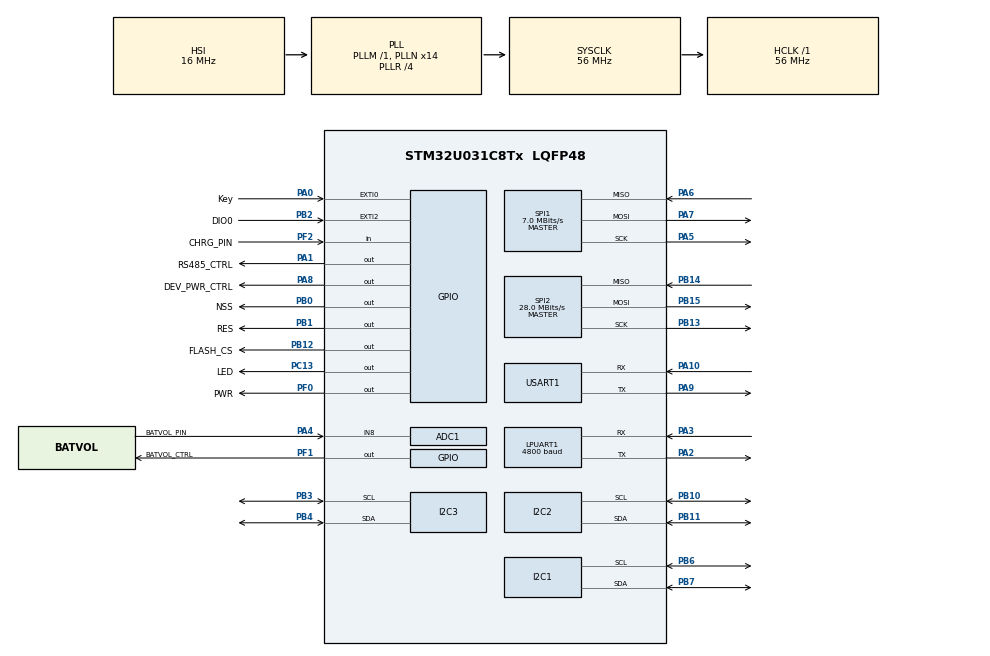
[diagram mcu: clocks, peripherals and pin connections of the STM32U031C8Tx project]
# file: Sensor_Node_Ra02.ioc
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ADC1.Channel-7\#ChannelRegularConversion=ADC_CHANNEL_8
ADC1.ClockPrescaler=ADC_CLOCK_SYNC_PCLK_DIV4
ADC1.NbrOfConversionFlag=1
ADC1.Rank-7\#ChannelRegularConversion=1
ADC1.RankArg-7\#ChannelRegularConversion=ADC_REGULAR_RANK_1
ADC1.SamplingTime-7\#ChannelRegularConversion=ADC_SAMPLINGTIME_COMMON_1
ADC1.SamplingTimeCommon1=ADC_SAMPLETIME_160CYCLES_5
ADC1.SamplingTimeCommon2=ADC_SAMPLETIME_160CYCLES_5
ADC1.SelectedChannel=ADC_CHANNEL_8
ADC1.master=1
CRC.CRCLength=CRC_POLYLENGTH_16B
CRC.DefaultInitValueUse=DEFAULT_INIT_VALUE_DISABLE
CRC.DefaultPolynomialUse=DEFAULT_POLYNOMIAL_DISABLE
CRC.GeneratingPolynomial=X15+X2+X0
CRC.InitValue=0xFFFF
CRC.InputDataInversionMode=CRC_INPUTDATA_INVERSION_BIT_BYBYTE
CRC.OutputDataInversionMode=CRC_OUTPUTDATA_INVERSION_BIT
Dma.Request0=USART1_RX
Dma.Request1=USART1_TX
Dma.USART1_RX.0.Direction=DMA_PERIPH_TO_MEMORY
Dma.USART1_RX.0.EventEnable=DISABLE
Dma.USART1_RX.0.Instance=DMA1_Channel1
Dma.USART1_RX.0.MemDataAlignment=DMA_MDATAALIGN_BYTE
Dma.USART1_RX.0.MemInc=DMA_MINC_ENABLE
Dma.USART1_RX.0.Mode=DMA_CIRCULAR
Dma.USART1_RX.0.PeriphDataAlignment=DMA_PDATAALIGN_BYTE
Dma.USART1_RX.0.PeriphInc=DMA_PINC_DISABLE
Dma.USART1_RX.0.Polarity=HAL_DMAMUX_REQ_GEN_RISING
Dma.USART1_RX.0.Priority=DMA_PRIORITY_LOW
Dma.USART1_RX.0.RequestNumber=1
Dma.USART1_RX.0.SignalID=NONE
Dma.USART1_RX.0.SyncEnable=DISABLE
Dma.USART1_RX.0.SyncPolarity=HAL_DMAMUX_SYNC_NO_EVENT
Dma.USART1_RX.0.SyncRequestNumber=1
Dma.USART1_RX.0.SyncSignalID=NONE
Dma.USART1_TX.1.Direction=DMA_MEMORY_TO_PERIPH
Dma.USART1_TX.1.EventEnable=DISABLE
Dma.USART1_TX.1.Instance=DMA1_Channel2
Dma.USART1_TX.1.MemDataAlignment=DMA_MDATAALIGN_BYTE
Dma.USART1_TX.1.MemInc=DMA_MINC_ENABLE
Dma.USART1_TX.1.Mode=DMA_NORMAL
Dma.USART1_TX.1.PeriphDataAlignment=DMA_PDATAALIGN_BYTE
Dma.USART1_TX.1.PeriphInc=DMA_PINC_DISABLE
Dma.USART1_TX.1.Polarity=HAL_DMAMUX_REQ_GEN_RISING
Dma.USART1_TX.1.Priority=DMA_PRIORITY_LOW
Dma.USART1_TX.1.RequestNumber=1
Dma.USART1_TX.1.SignalID=NONE
Dma.USART1_TX.1.SyncEnable=DISABLE
Dma.USART1_TX.1.SyncPolarity=HAL_DMAMUX_SYNC_NO_EVENT
Dma.USART1_TX.1.SyncRequestNumber=1
Dma.USART1_TX.1.SyncSignalID=NONE
I2C1.Timing=0x10606DA4
I2C2.Timing=0x10606DA4
I2C3.Timing=0x10606DA4
LPUART1.BaudRate=4800
Mcu.Family=STM32U0
Mcu.Name=STM32U031C8Tx
Mcu.Package=LQFP48
NVIC.DMA1_Channel1_IRQn=true\:3\:0\:true\:false\:true\:false\:true\:true
NVIC.DMA1_Channel2_3_IRQn=true\:3\:0\:true\:false\:true\:false\:true\:true
NVIC.EXTI0_1_IRQn=true\:2\:0\:true\:false\:true\:true\:true\:true
NVIC.EXTI2_3_IRQn=true\:1\:0\:true\:false\:true\:true\:true\:true
NVIC.PriorityGroup=NVIC_PRIORITYGROUP_2
NVIC.RTC_TAMP_IRQn=true\:0\:0\:false\:false\:true\:true\:true\:true
NVIC.USART1_IRQn=true\:3\:0\:true\:false\:true\:true\:true\:true
NVIC.USART3_LPUART1_IRQn=true\:2\:0\:true\:false\:true\:true\:true\:true
PA0.GPIO_Label=Key
PA0.GPIO_ModeDefaultEXTI=GPIO_MODE_IT_RISING_FALLING
PA0.GPIO_PuPd=GPIO_PULLUP
PA0.Signal=GPXTI0
PA1.GPIO_Label=RS485_CTRL
PA1.GPIO_PuPd=GPIO_PULLDOWN
PA1.GPIO_Speed=GPIO_SPEED_FREQ_VERY_HIGH
PA1.Signal=GPIO_Output
PA10.Mode=Asynchronous
PA10.Signal=USART1_RX
PA13\ (SWDIO).Mode=Serial_Wire
PA13\ (SWDIO).Signal=DEBUG_JTMS-SWDIO
PA14\ (SWCLK).Mode=Serial_Wire
PA14\ (SWCLK).Signal=DEBUG_JTCK-SWCLK
PA2.Mode=Asynchronous
PA2.Signal=LPUART1_TX
PA3.Mode=Asynchronous
PA3.Signal=LPUART1_RX
PA4.GPIO_Label=BATVOL_PIN
PA4.Mode=IN8
PA4.Signal=ADC1_IN8
PA5.Mode=Full_Duplex_Master
PA5.Signal=SPI1_SCK
PA6.Mode=Full_Duplex_Master
PA6.Signal=SPI1_MISO
PA7.Mode=Full_Duplex_Master
PA7.Signal=SPI1_MOSI
PA8.GPIO_Label=DEV_PWR_CTRL
PA8.GPIO_PuPd=GPIO_PULLUP
PA8.GPIO_Speed=GPIO_SPEED_FREQ_VERY_HIGH
PA8.PinState=GPIO_PIN_RESET
PA8.Signal=GPIO_Output
PA9.Mode=Asynchronous
PA9.Signal=USART1_TX
PB0.GPIO_Label=NSS
PB0.PinState=GPIO_PIN_SET
PB0.Signal=GPIO_Output
PB1.GPIO_Label=RES
PB1.PinState=GPIO_PIN_SET
PB1.Signal=GPIO_Output
PB10.Mode=I2C
PB10.Signal=I2C2_SCL
PB11.Mode=I2C
PB11.Signal=I2C2_SDA
PB12.GPIO_Label=FLASH_CS
PB12.GPIO_Speed=GPIO_SPEED_FREQ_HIGH
PB12.Signal=GPIO_Output
PB13.Mode=Full_Duplex_Master
PB13.Signal=SPI2_SCK
PB14.Mode=Full_Duplex_Master
PB14.Signal=SPI2_MISO
PB15.Mode=Full_Duplex_Master
PB15.Signal=SPI2_MOSI
PB2.GPIO_Label=DIO0
PB2.GPIO_PuPd=GPIO_PULLDOWN
PB2.Signal=GPXTI2
PB3.Mode=I2C
PB3.Signal=I2C3_SCL
PB4.Mode=I2C
PB4.Signal=I2C3_SDA
PB6.Mode=I2C
PB6.Signal=I2C1_SCL
PB7.Mode=I2C
PB7.Signal=I2C1_SDA
PC13.GPIO_Label=LED
PC13.GPIO_PuPd=GPIO_PULLUP
PC13.PinState=GPIO_PIN_RESET
PC13.Signal=GPIO_Output
PC14-OSC32_IN.Mode=LSE-External-Oscillator
PC14-OSC32_IN.Signal=RCC_OSC32_IN
PC15-OSC32_OUT.Mode=LSE-External-Oscillator
PC15-OSC32_OUT.Signal=RCC_OSC32_OUT
PF0-OSC_IN.GPIO_Label=PWR
PF0-OSC_IN.GPIO_ModeDefaultOutputPP=GPIO_MODE_OUTPUT_PP
PF0-OSC_IN.GPIO_PuPd=GPIO_PULLUP
PF0-OSC_IN.PinState=GPIO_PIN_SET
PF0-OSC_IN.Signal=GPIO_Output
PF1-OSC_OUT.GPIO_Label=BATVOL_CTRL
PF1-OSC_OUT.Signal=GPIO_Output
PF2-NRST.GPIO_Label=CHRG_PIN
PF2-NRST.Signal=GPIO_Input
ProjectManager.HeapSize=0x200
ProjectManager.StackSize=0x400
ProjectManager.TargetToolchain=MDK-ARM V5.37
RCC.ADCFreq_Value=56000000
RCC.AHBFreq_Value=56000000
RCC.CortexFreq_Value=56000000
RCC.HCLKFreq_Value=56000000
RCC.HSE_VALUE=8000000
RCC.HSI48_VALUE=48000000
RCC.HSI_VALUE=16000000
RCC.LPUART1CLockSelection=RCC_LPUART1CLKSOURCE_HSI
RCC.MSI_VALUE=4000000
RCC.PLLN=14
RCC.PLLR=RCC_PLLR_DIV4
RCC.RTCClockSelection=RCC_RTCCLKSOURCE_LSE
RCC.SYSCLKFreq_VALUE=56000000
RCC.SYSCLKSource=RCC_SYSCLKSOURCE_PLLCLK
RCC.VCOOutputFreq_Value=224000000
RTC.WakeUpClock-WakeUp=RTC_WAKEUPCLOCK_CK_SPRE_16BITS
SPI1.BaudRatePrescaler=SPI_BAUDRATEPRESCALER_8
SPI1.CalculateBaudRate=7.0 MBits/s
SPI1.DataSize=SPI_DATASIZE_8BIT
SPI1.Direction=SPI_DIRECTION_2LINES
SPI1.Mode=SPI_MODE_MASTER
SPI1.VirtualType=VM_MASTER
SPI2.CalculateBaudRate=28.0 MBits/s
SPI2.DataSize=SPI_DATASIZE_8BIT
SPI2.Direction=SPI_DIRECTION_2LINES
SPI2.Mode=SPI_MODE_MASTER
SPI2.VirtualType=VM_MASTER
USART1.VirtualMode-Asynchronous=VM_ASYNC
VP_CRC_VS_CRC.Mode=CRC_Activate
VP_PWR_VS_SECSignals.Mode=Security/Privilege
VP_RTC_VS_RTC_Activate.Mode=RTC_Enabled
VP_RTC_VS_RTC_Calendar.Mode=RTC_Calendar
VP_RTC_VS_RTC_WakeUp_intern.Mode=WakeUp
board=custom

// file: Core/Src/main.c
/* USER CODE BEGIN Header */
/**
 ******************************************************************************
 * @file           : main.c
 * @brief          : Main program body
 ******************************************************************************
 * @attention
 *
 * Copyright (c) 2025 STMicroelectronics.
 * All rights reserved.
 *
 * This software is licensed under terms that can be found in the LICENSE file
 * in the root directory of this software component.
 * If no LICENSE file comes with this software, it is provided AS-IS.
 *
 ******************************************************************************
 */
/* USER CODE END Header */
#include "main.h"
#include "adc.h"
#include "crc.h"
#include "dma.h"
#include "i2c.h"
#include "usart.h"
#include "rtc.h"
#include "spi.h"
#include "gpio.h"

/* USER CODE BEGIN Includes */
#include "stdbool.h"
#include "stdio.h"
#include "string.h"
#include "stdint.h"
#include "stdlib.h"
#include "LoRa.h"
#include "bh1750.h"
#include "sgp30.h"
#include "sht40.h"
#include "w25qxx.h"
#include "sp3485.h"
#include "battery.h"
#include "device_properties.h"
#include "lora_protocol.h"
#include "config_manager.h"
#include "key_handler.h"
#include "state_manager.h"
#include "cli_manager.h"
/* USER CODE END Includes */

/* USER CODE BEGIN PV */
// LoRaé

static LoRa myLoRa;
static uint8_t lora_send_buffer[45];
// äź ćĺ¨ć°ćŽçťćä˝ (volatileçĄŽäżĺ¨ä¸­ć­ĺä¸ťĺžŞçŻé´ĺŽĺ
static volatile InternalSensorProperties_t sensor_data;

// -- çłťçťçśććşĺé --
static volatile SystemState_t g_SystemState = STATE_NORMAL_OPERATION;

// -- ä˝ĺčĺˇĽä˝ĺžŞçŻç¸ĺ
static uint32_t last_transmission_time = 0; // ä¸ćŹĄĺéçćśé´ćł
/* USER CODE END PV */

void SystemClock_Config(void);
/* USER CODE BEGIN PFP */
/** @brief ĺĺ§ĺććĺşç¨ĺąĺéŠąĺ¨ĺąĺ¤čŽž */
void Peripherals_Init(void);
/** @brief ĺĺĺ§ĺććĺşç¨ĺąĺéŠąĺ¨ĺąĺ¤čŽžďźä¸şčżĺ
Ľä˝ĺčć¨Ąĺźĺĺĺ¤ */
void Peripherals_DeInit(void);
/** @brief ć§čĄä¸ćŹĄĺŽć´çć°ćŽééăćĺ
ĺLoRaĺéćľç¨ */
void Perform_Sensor_Transmission(void);

// --- ćéŽäşäťśçĺč°ĺ˝ć° ---
void on_key_long_press(void);
void on_key_short_press(void);
/* USER CODE END PFP */

/* USER CODE BEGIN 0 */
void print_hex(char *buffer, int len)
{
  int i;
  printf("******************start code**********************************\n");
  for (i = 1; i <= len; i++)
  {
    printf("0x%02X ", buffer[i - 1]);
    if (i % 16 == 0)
    {
      printf("\n");
    }
  }
  printf("\n");
  printf("********************end code************************************\n");
}
/**
 * @brief Callback function implementation for a long key press.
 */
void on_key_long_press(void)
{
    // This function is now intentionally empty.
    // Long press no longer switches modes during runtime.
}

/**
 * @brief Callback function implementation for a short key press.
 */
void on_key_short_press(void)
{
    // The primary function of a short press is to wake the device from STOP mode,
    // which is handled by the EXTI interrupt itself.
    // We can add a simple log message here for debugging if needed.
    printf("\r\n--- Key press detected (wake-up event) ---\r\n");
}

/**
 * @brief Initializes only the peripherals required for configuration mode.
 */
void Configuration_Mode_Init(void)
{
    printf("Initializing for Configuration Mode...\r\n");

    // Enable power for external peripherals (like Flash)
    HAL_GPIO_WritePin(DEV_PWR_CTRL_GPIO_Port, DEV_PWR_CTRL_Pin, GPIO_PIN_SET);
    HAL_Delay(10); // Give peripherals a moment to power up

    // Initialize Flash memory
    if (!W25QXX_Init())
    {
        printf("W25QXX Flash init OK!\r\n");
        // Try to load existing configuration
        if (Config_Load())
        {
            printf("Configuration loaded successfully from Flash.\r\n");
        }
        else
        {
            printf("No valid config in Flash. Using default values.\r\n");
            Config_SetDefault(); // Use defaults, but don't save yet.
        }
    }
    else
    {
        printf("W25QXX Flash init ERROR! Using default configuration.\r\n");
        Config_SetDefault();
    }

    // Start UART reception for CLI commands
    USART1_Start_DMA_Reception();
    printf("Configuration Mode Ready.\r\n");
}
/* USER CODE END 0 */

int main(void)
{

  /* MCU Configuration--------------------------------------------------------*/

  /* Reset of all peripherals, Initializes the Flash interface and the Systick. */
  HAL_Init();

  /* Configure the system clock */
  SystemClock_Config();

  /* USER CODE BEGIN SysInit */
  if (__HAL_PWR_GET_FLAG(PWR_FLAG_WUF2) != RESET)
  {
    // Clear the RTC Wakeup flag
    __HAL_PWR_CLEAR_FLAG(PWR_FLAG_WUF2);
    // Note: WUF1 is for the key press, we let its handler run normally.
  }
  /* USER CODE END SysInit */

  /* Initialize all configured peripherals */
  MX_GPIO_Init();
  MX_DMA_Init();
  MX_SPI1_Init();
  MX_USART1_UART_Init();
  MX_ADC1_Init();
  MX_I2C1_Init();
  MX_I2C2_Init();
  MX_I2C3_Init();
  MX_SPI2_Init();
  MX_CRC_Init();
  MX_LPUART1_UART_Init();
  MX_RTC_Init();
  /* USER CODE BEGIN 2 */

  // Disable RTC wakeup timer on startup, as it might be enabled by default after a reset.
  HAL_RTCEx_DeactivateWakeUpTimer(&hrtc);
  Key_Init();

  // Check for key press at startup to determine the operating mode
  HAL_Delay(100); // Small delay to allow holding the key during startup
  if (HAL_GPIO_ReadPin(Key_GPIO_Port, Key_Pin) == GPIO_PIN_RESET)
  {
      g_SystemState = STATE_CONFIGURATION;
      HAL_GPIO_WritePin(LED_GPIO_Port, LED_Pin, GPIO_PIN_SET); // Turn on LED to indicate config mode
      Configuration_Mode_Init(); // Initialize only what's needed for config mode
  }
  else
  {
      // --- Normal Operation Startup ---
      g_SystemState = STATE_NORMAL_OPERATION;
      Peripherals_Init();
      // Start the DMA reception for USART1, which might be used for debugging.
      USART1_Start_DMA_Reception();
      printf("System Started for Normal Operation!\r\n");
  }
  /* USER CODE END 2 */

  /* Infinite loop */
  while (1)
  {

    /* USER CODE BEGIN 3 */
    // --- State machine logic ---
    if (g_SystemState == STATE_NORMAL_OPERATION)
    {
        // Key_Process(); // No longer needed for mode switching.

        Perform_Sensor_Transmission();

        // If all transmissions for the current cycle are done, prepare to sleep.
        printf("\r\n--- Work cycle finished, preparing to enter STOP 2 mode... ---\r\n");
        Peripherals_DeInit(); // De-initialize peripherals to reduce power consumption

        // Short delay to ensure printf completes its output
        HAL_Delay(100);

        // Suspend SysTick to prevent it from waking up the MCU
        HAL_SuspendTick();

        // Set the RTC Wakeup timer to wake up after 60 seconds
        if (HAL_RTCEx_SetWakeUpTimer_IT(&hrtc, 29, RTC_WAKEUPCLOCK_CK_SPRE_16BITS, 0) != HAL_OK)
        {
          Error_Handler();
        }
        printf("RTC Wakeup timer has been set to 30 seconds.\r\n");

        // Enter STOP 2 mode, wait for interrupt (WFI)
        HAL_PWREx_EnterSTOP2Mode(PWR_STOPENTRY_WFI);

        // --- MCU Wake-up Point ---
        // Code execution will resume here...

        // After waking from STOP mode, the system clock is reset to MSI and must be reconfigured.
        SystemClock_Config();
        // Resume SysTick
        HAL_ResumeTick();
        printf("\r\n--- Woke up from STOP 2 mode ---\r\n");

        // Critical fix: After waking from deep sleep, all HAL-level peripherals must be re-initialized,
        // as their clocks and power sources were mostly turned off in STOP mode.
        MX_GPIO_Init();
        MX_DMA_Init();
        MX_SPI1_Init();
        MX_USART1_UART_Init();
        MX_ADC1_Init();
        MX_I2C1_Init();
        MX_I2C2_Init();
        MX_I2C3_Init();
        MX_SPI2_Init();
        MX_CRC_Init();
        MX_LPUART1_UART_Init();
        // Note: RTC keeps running throughout the process and does not need re-initialization.

        // Reset the work cycle counter and re-initialize application-layer drivers
        // to start a new work cycle.
        Peripherals_Init();
        // Restart DMA reception for the CLI
        USART1_Start_DMA_Reception();
    }
    else if (g_SystemState == STATE_CONFIGURATION)
    {
        // In configuration mode, loop to process CLI commands.
        CLI_Process();
    }
  }
  /* USER CODE END 3 */
}

void SystemClock_Config(void)
{
  RCC_OscInitTypeDef RCC_OscInitStruct = {0};
  RCC_ClkInitTypeDef RCC_ClkInitStruct = {0};

  /** Configure the main internal regulator output voltage
  */
  HAL_PWREx_ControlVoltageScaling(PWR_REGULATOR_VOLTAGE_SCALE1);

  /** Configure LSE Drive Capability
  */
  HAL_PWR_EnableBkUpAccess();
  __HAL_RCC_LSEDRIVE_CONFIG(RCC_LSEDRIVE_LOW);

  /** Initializes the RCC Oscillators according to the specified parameters
  * in the RCC_OscInitTypeDef structure.
  */
  RCC_OscInitStruct.OscillatorType = RCC_OSCILLATORTYPE_HSI|RCC_OSCILLATORTYPE_LSE;
  RCC_OscInitStruct.LSEState = RCC_LSE_ON;
  RCC_OscInitStruct.HSIState = RCC_HSI_ON;
  RCC_OscInitStruct.HSICalibrationValue = RCC_HSICALIBRATION_DEFAULT;
  RCC_OscInitStruct.PLL.PLLState = RCC_PLL_ON;
  RCC_OscInitStruct.PLL.PLLSource = RCC_PLLSOURCE_HSI;
  RCC_OscInitStruct.PLL.PLLM = RCC_PLLM_DIV1;
  RCC_OscInitStruct.PLL.PLLN = 14;
  RCC_OscInitStruct.PLL.PLLP = RCC_PLLP_DIV2;
  RCC_OscInitStruct.PLL.PLLQ = RCC_PLLQ_DIV2;
  RCC_OscInitStruct.PLL.PLLR = RCC_PLLR_DIV4;
  if (HAL_RCC_OscConfig(&RCC_OscInitStruct) != HAL_OK)
  {
    Error_Handler();
  }

  /** Initializes the CPU, AHB and APB buses clocks
  */
  RCC_ClkInitStruct.ClockType = RCC_CLOCKTYPE_HCLK|RCC_CLOCKTYPE_SYSCLK
                              |RCC_CLOCKTYPE_PCLK1;
  RCC_ClkInitStruct.SYSCLKSource = RCC_SYSCLKSOURCE_PLLCLK;
  RCC_ClkInitStruct.AHBCLKDivider = RCC_SYSCLK_DIV1;
  RCC_ClkInitStruct.APB1CLKDivider = RCC_HCLK_DIV1;

  if (HAL_RCC_ClockConfig(&RCC_ClkInitStruct, FLASH_LATENCY_2) != HAL_OK)
  {
    Error_Handler();
  }
}

/* USER CODE BEGIN 4 */
void Peripherals_DeInit(void)
{
  printf("De-initializing peripherals...\r\n");

  // De-init HAL drivers to save power and prevent bus issues
  HAL_SPI_DeInit(&hspi1);
  HAL_SPI_DeInit(&hspi2);
  HAL_I2C_DeInit(&hi2c1);
  HAL_I2C_DeInit(&hi2c2);
  HAL_I2C_DeInit(&hi2c3);
  HAL_ADC_DeInit(&hadc1);
  HAL_UART_DeInit(&huart1);
  HAL_UART_DeInit(&hlpuart1);
}

void Peripherals_Init(void)
{
  // This function centralizes all peripheral initializations
  // that need to be re-done after waking from certain low-power modes.

  // NOTE: Key handler is initialized only once at startup, not here.

  if (HAL_ADCEx_Calibration_Start(&hadc1) != HAL_OK)
  {
    Error_Handler();
  }

  printf("Drivers power init start...\r\n");
  HAL_GPIO_WritePin(DEV_PWR_CTRL_GPIO_Port, DEV_PWR_CTRL_Pin, GPIO_PIN_SET);
  HAL_Delay(500); // Give peripherals time to power up
  printf("Drivers power init ok!\r\n");

  if (!sgp30_init())
  {
    printf("SGP30 init ok!\r\n");
  }
  else
  {
    printf("SGP30 init err!\r\n");
  }

  if (Init_BH1750())
  {
    printf("BH1750 init ok!\r\n");
  }
  else
  {
    printf("BH1750 init err!\r\n");
  }

  SP3485_Init();
  printf("SP3485 init ok!\r\n");

  printf("sgp30 wait air for init\r\n");
  do
  {
    if (sgp30_read((uint16_t *)&sensor_data.co2Concentration, (uint16_t *)&sensor_data.vocConcentration) < 0)
    {
      printf("\r\n spg30 read failed");
    }
    HAL_Delay(200);
  } while (sensor_data.vocConcentration == 0 && sensor_data.co2Concentration == 400);
  printf("sgp30 air init End!\r\n");

  Battery_Init();

  if (!W25QXX_Init())
  {
    printf("W25QXX Flash init OK!\r\n");

    if (Config_Load())
    {
      printf("Configuration loaded successfully from Flash.\r\n");
    }
    else
    {
      printf("No valid config found in Flash. Saving default values.\r\n");
      if (!Config_Save())
      {
        printf("Error: Failed to save default configuration!\r\n");
        Error_Handler();
      }
    }
  }
  else
  {
    printf("W25QXX Flash init ERROR!\r\n");
    Config_SetDefault();
    printf("Using default configuration as Flash is not available.\r\n");
  }

  printf("----------------------------------------\r\n");
  printf("--- Device Configuration ---\r\n");
  printf("   Device ID:      0x%X\r\n", g_DeviceConfig.device_id);
  printf("   LoRa Frequency: %u MHz\r\n", g_DeviceConfig.lora_frequency);
  printf("----------------------------------------\r\n\r\n");

  myLoRa = newLoRa();
  myLoRa.CS_port = NSS_GPIO_Port;
  myLoRa.CS_pin = NSS_Pin;
  myLoRa.reset_port = RES_GPIO_Port;
  myLoRa.reset_pin = RES_Pin;
  myLoRa.DIO0_port = DIO0_GPIO_Port;
  myLoRa.DIO0_pin = DIO0_Pin;
  myLoRa.hSPIx = &hspi1;

  myLoRa.frequency = g_DeviceConfig.lora_frequency;

  uint16_t LoRa_status = LoRa_init(&myLoRa);
  if (LoRa_status == LORA_OK)
  {
    printf("lora init ok!\r\n");
  }
  else
  {
    printf("lora init err!\r\n");
  }

  HAL_Delay(1000);
}

void Perform_Sensor_Transmission(void)
{
  BH1750_GetDate((uint16_t *)&sensor_data.lightIntensity);
  sgp30_read((uint16_t *)&sensor_data.co2Concentration, (uint16_t *)&sensor_data.vocConcentration);
  SHT40_Read_RHData((double *)&sensor_data.greenhouseTemperature, (double *)&sensor_data.greenhouseHumidity);
  Soil_Sensor_Full_Data_t soil_data;
  SP3485_Read_Soil_Full_Data(0x01, &soil_data);
  sensor_data.soilMoisture = soil_data.moisture;
  sensor_data.soilTemperature = soil_data.temperature;
  sensor_data.soilEc = soil_data.ec;
  sensor_data.soilPh = soil_data.ph;
  sensor_data.soilNitrogen = soil_data.nitrogen;
  sensor_data.soilPhosphorus = soil_data.phosphorus;
  sensor_data.soilPotassium = soil_data.potassium;
  sensor_data.soilSalinity = soil_data.salinity;
  sensor_data.soilTds = soil_data.tds;
  sensor_data.soilFertility = soil_data.fertility;
  sensor_data.common.batteryVoltage = Battery_GetVoltage();
  sensor_data.common.batteryLevel = Battery_GetPercentage(sensor_data.common.batteryVoltage);

  printf("    Read Success!   \r\n");

  printf("Moisture:    %.1f %%\r\n", sensor_data.soilMoisture);
  printf("Temperature: %.1f C\r\n", sensor_data.soilTemperature);
  printf("EC:          %d uS/cm\r\n", sensor_data.soilEc);
  printf("PH:          %.1f\r\n", sensor_data.soilPh);
  printf("Nitrogen:    %d\r\n", sensor_data.soilNitrogen);
  printf("Phosphorus:  %d\r\n", sensor_data.soilPhosphorus);
  printf("Potassium:   %d\r\n", sensor_data.soilPotassium);
  printf("Salinity:    %d\r\n", sensor_data.soilSalinity);
  printf("TDS:         %d\r\n", sensor_data.soilTds);
  printf("Fertility:   %d\r\n", sensor_data.soilFertility);
  printf("CO2:         %d ppm\r\n", sensor_data.co2Concentration);
  printf("VOC:         %d ppb\r\n", sensor_data.vocConcentration);
  printf("Temperature: %.1f C\r\n", sensor_data.greenhouseTemperature);
  printf("Humidity:    %.1f %%\r\n", sensor_data.greenhouseHumidity);
  printf("Light:       %d lux\r\n", sensor_data.lightIntensity);
  printf("BatteryLvel: %d%%\r\n", sensor_data.common.batteryLevel);

  sensor_data_payload_t sensor_lora_payload;
  if (lora_model_create_sensor_payload((const InternalSensorProperties_t *)&sensor_data, &sensor_lora_payload))
  {
    int lora_data_len = generate_lora_frame(LORA_HOST_ADDRESS, DEVICE_TYPE_SENSOR_Internal, MSG_TYPE_REPORT_SENSOR, 0, (const uint8_t *)&sensor_lora_payload, sizeof(sensor_lora_payload), lora_send_buffer, sizeof(lora_send_buffer));
    printf("lora_data_len:%d\r\n", lora_data_len);
    printf("\r\n");
    print_hex((char *)lora_send_buffer, lora_data_len);
    printf("lora send status:%d\r\n", LoRa_transmit(&myLoRa, lora_send_buffer, lora_data_len, 3000));
  }
}
/* USER CODE END 4 */

void Error_Handler(void)
{
  __disable_irq();
  while (1)
  {
  }
}
